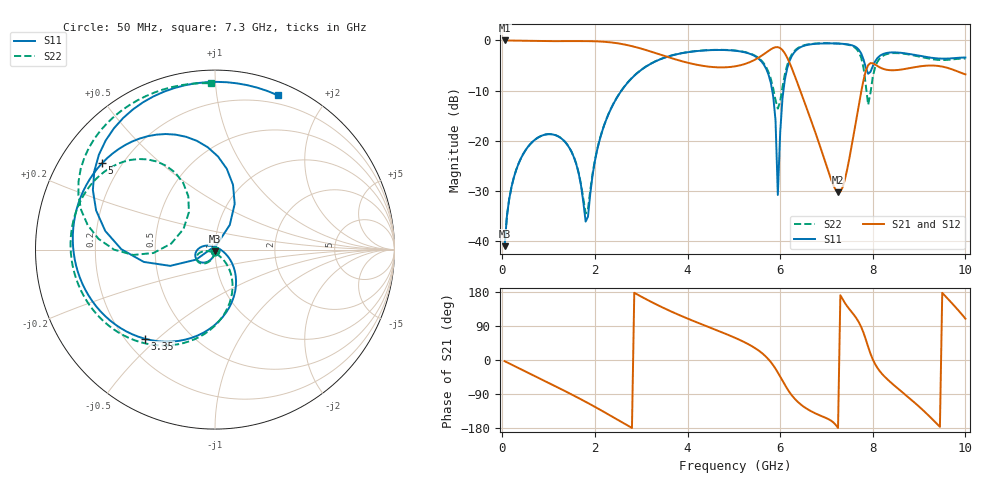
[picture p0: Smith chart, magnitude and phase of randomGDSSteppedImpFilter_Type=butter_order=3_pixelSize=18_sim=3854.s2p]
! freq	dB(S11)	phase(S11)	dB(S12)	phase(S12)
!  dB(S21)	phase(S21)	dB(S22)	phase(S22)
!S-par simulation data
#  GHz  S  DB  R 50
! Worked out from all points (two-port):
!   200 points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, 50 MHz to 10 GHz, reference 50 ohm
!   highest |S21| = -0.01 dB at 50 MHz (marker M1); lowest = -30.3 dB at 7.25 GHz (marker M2)
!   |S21| within 3 dB of the highest: start of sweep to 3.473 GHz; 5.605 GHz to 6.127 GHz (522 MHz wide, 8.9 % of centre)
!   lowest |S11| = -41.0 dB at 50 MHz (marker M3), VSWR 1.02, Z = 49.9 - j0.894 ohm
!   |S11| at or under -10 dB: start of sweep to 2.573 GHz; 5.828 GHz to 6.071 GHz (242.8 MHz wide, 4.08 % of centre)
!   |S22| runs from -40.8 to -0.6 dB; largest |S21 - S12| = 0
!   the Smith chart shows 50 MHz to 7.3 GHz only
!   S11 on the Smith chart (normalised r, x): 50 MHz: 1.00, -0.02; 3.35 GHz: 0.28, -0.46; 5 GHz: 0.13, +0.33; 7.3 GHz: 0.12, +1.48
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0.05  -40.95 -93.1  -0.01 -3.1  -0.01 -3.1  -40.83 -92.1
0.3  -25.78 -109.3  -0.04 -18.3  -0.04 -18.3  -25.78 -107.4
0.8  -19.18 -141.7  -0.11 -48.4  -0.11 -48.4  -19.18 -135.9
1.75  -32.21 125.5  -0.13 -107.0  -0.13 -107.0  -31.56 -155.0
2.55  -10.31 -71.9  -0.66 -161.8  -0.66 -161.8  -10.27 -74.5
3.35  -3.99 -128.1  -2.64 145.2  -2.64 145.2  -3.97 -123.1
3.4  -3.80 -131.2  -2.79 142.2  -2.79 142.2  -3.77 -125.9
5  -2.02 142.5  -5.20 60.0  -5.20 60.0  -1.98 159.5
5.05  -2.07 139.7  -5.12 57.3  -5.12 57.3  -2.03 157.1
5.75  -6.84 81.7  -2.07 1.5  -2.07 1.5  -6.34 117.3
5.9  -15.89 59.1  -1.35 -23.1  -1.35 -23.1  -11.89 124.8
5.95  -30.77 69.3  -1.34 -33.1  -1.34 -33.1  -13.57 146.7
6.15  -5.64 179.8  -3.39 -75.4  -3.39 -75.4  -5.00 -180.0
6.7  -0.73 111.9  -16.75 -137.3  -16.75 -137.3  -0.66 130.2
7.25  -0.62 71.7  -30.25 -179.3  -30.25 -179.3  -0.62 95.0
7.3  -0.65 68.0  -30.12 170.9  -30.12 170.9  -0.65 91.5
7.85  -5.44 20.1  -6.06 54.0  -6.06 54.0  -8.96 32.1
8  -5.14 41.7  -4.55 1.8  -4.55 1.8  -7.25 94.0
8.35  -2.43 13.2  -5.91 -54.9  -5.91 -54.9  -2.62 55.3
8.9  -2.87 -38.5  -5.34 -112.0  -5.34 -112.0  -3.01 -2.7
9.4  -3.58 -91.9  -5.06 -170.1  -5.06 -170.1  -3.87 -71.0
10  -3.40 -168.0  -6.75 109.1  -6.75 109.1  -3.61 -163.6
